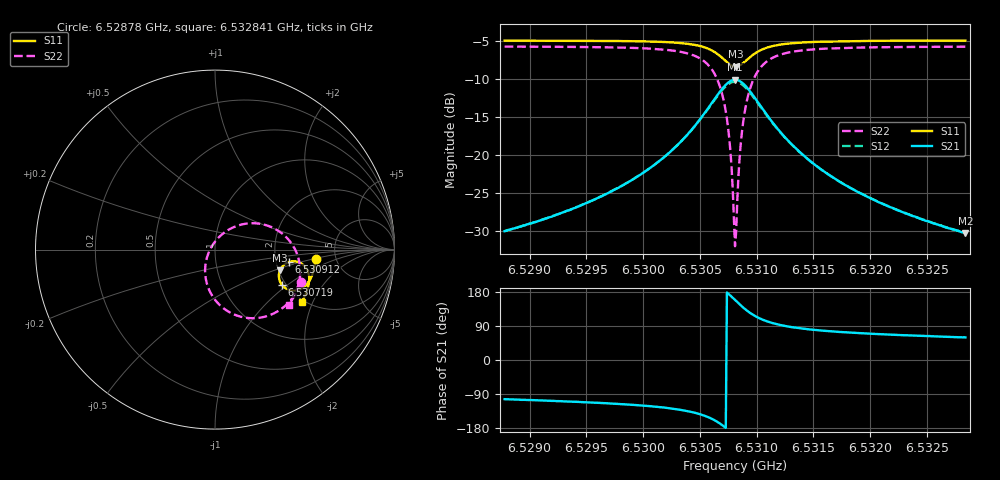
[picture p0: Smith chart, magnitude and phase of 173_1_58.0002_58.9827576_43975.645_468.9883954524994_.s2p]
#  HZ  S  RI  R  50.00
! Rohde & Schwarz Vector Network Analyzer
! Rohde-Schwarz,ZNB20-2Port,1311601062101988,3.16
! Created: UTC 3/21/2024, 12:58:00 AM
! freq[Hz]  re:S11  im:S11  re:S21  im:S21  re:S12  im:S12  re:S22  im:S22
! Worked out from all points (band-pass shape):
!   401 points, 6.52878 GHz to 6.532841 GHz, reference 50 ohm
!   highest |S21| = -10.13 dB at 6.53081 GHz (marker M1); lowest = -30.3 dB at 6.532841 GHz (marker M2)
!   |S21| within 3 dB of the highest: 6.530608 GHz to 6.531014 GHz (405.8 kHz wide, 0.00621 % of centre)
!   lowest |S11| = -8.4 dB at 6.53082 GHz (marker M3), VSWR 2.22, Z = 102 - j27.6 ohm
!   |S11| at or under -10 dB: nowhere
!   |S22| runs from -32.0 to -5.8 dB; largest |S21 - S12| = 0.013
!   S11 on the Smith chart (normalised r, x): 6.52878 GHz: 3.49, -0.52; 6.530719 GHz: 1.90, -0.90; 6.530912 GHz: 2.37, -0.39; 6.532841 GHz: 1.94, -1.66
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6.5287797e9  0.5604 -0.051  -0.00729 -0.0307  -0.00806 -0.0306  0.4815 -0.1808
6.5294599e9  0.5513 -0.108  -0.0169 -0.0438  -0.0179 -0.0434  0.4495 -0.2439
6.5298255e9  0.5409 -0.1424  -0.0286 -0.0566  -0.0301 -0.0561  0.4178 -0.2865
6.5301402e9  0.5241 -0.1768  -0.0511 -0.0751  -0.0532 -0.0737  0.366 -0.333
6.5303737e9  0.4974 -0.2074  -0.0913 -0.0949  -0.0941 -0.0918  0.2836 -0.3722
6.5305463e9  0.4536 -0.2274  -0.1603 -0.1018  -0.1628 -0.0948  0.1558 -0.3768
6.5306478e9  0.408 -0.2227  -0.2309 -0.0752  -0.2303 -0.0652  0.0374 -0.3187
6.5307189e9  0.3722 -0.1953  -0.2832 -0.0159  -0.2772 -0.00553  -0.039 -0.2087
6.5307595e9  0.3584 -0.1672  -0.2995 0.0377  -0.2903 0.0462  -0.0552 -0.1165
6.5308001e9  0.3569 -0.1332  -0.295 0.0992  -0.2836 0.104  -0.0353 -0.0167
6.5308103e9  0.3587 -0.1246  -0.2899 0.1143  -0.2784 0.1181  -0.0242 0.00691
6.5308204e9  0.3615 -0.1164  -0.2834 0.1288  -0.2719 0.1316  -0.0107 0.0295
6.5308306e9  0.3653 -0.1083  -0.2755 0.1425  -0.2642 0.1443  0.00485 0.0503
6.5308611e9  0.3806 -0.0879  -0.2452 0.1776  -0.235 0.1769  0.0611 0.1016
6.5308814e9  0.3933 -0.078  -0.2213 0.1947  -0.2123 0.1926  0.1036 0.1249
6.5309118e9  0.414 -0.0684  -0.1839 0.2105  -0.1768 0.2072  0.1684 0.1439
6.5309829e9  0.4576 -0.0675  -0.1076 0.2126  -0.1037 0.2095  0.2969 0.1321
6.5310844e9  0.4962 -0.0894  -0.0414 0.1814  -0.0396 0.1795  0.4031 0.0628
6.5312367e9  0.519 -0.1254  -0.00146 0.1342  -0.000142 0.1335  0.4606 -0.0341
6.5314905e9  0.5249 -0.1691  0.0155 0.0877  0.0167 0.0874  0.4746 -0.1326
6.5321708e9  0.5081 -0.2406  0.0178 0.042  0.0185 0.0418  0.4453 -0.2493
6.5328409e9  0.4834 -0.2916  0.0156 0.0264  0.0161 0.0262  0.4104 -0.3092
